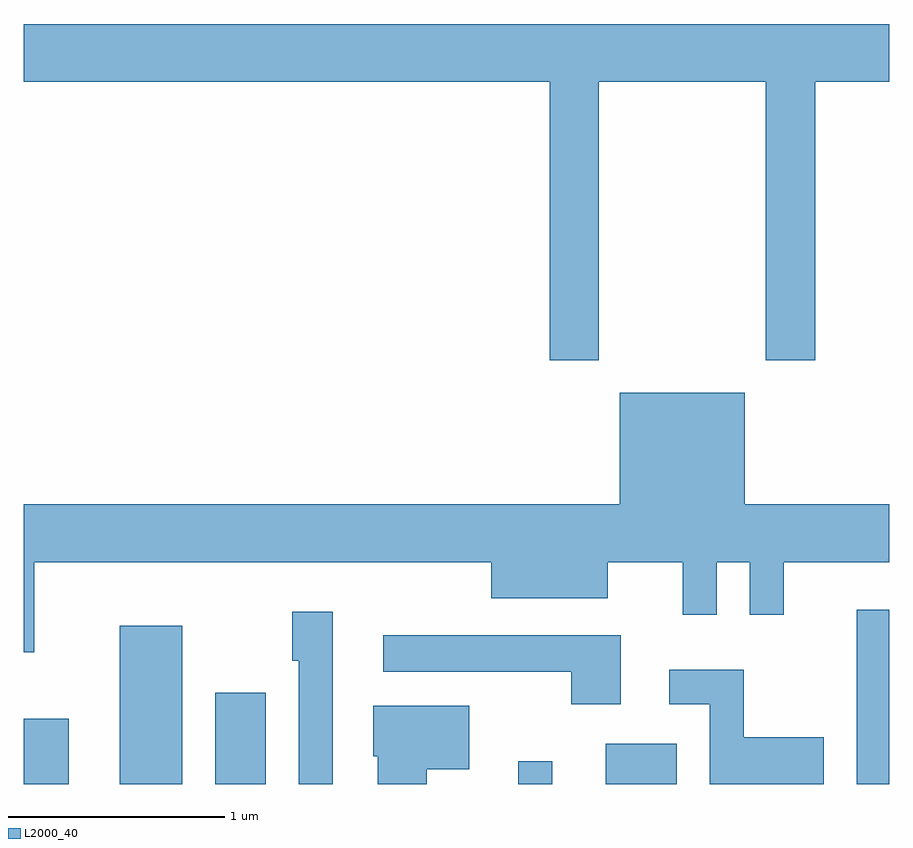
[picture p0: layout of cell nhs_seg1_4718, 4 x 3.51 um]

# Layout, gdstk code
import gdstk
lib = gdstk.Library(unit=1e-6, precision=1e-09)
def R(c, l, rs):  # rectangles x0, y0, x1, y1
    for r in rs: c.add(gdstk.rectangle(r[:2], r[2:], *l))
def P(c, l, *ps):  # polygons
    for p in ps: c.add(gdstk.Polygon(p, *l))
L2000_40 = (2000, 40)

nhs_seg1_4718 = lib.new_cell('nhs_seg1_4718')
R(nhs_seg1_4718, L2000_40, [(327.611,849.712,327.819,850.014), (328.056,849.712,328.344,850.444), (328.496,849.712,328.729,850.134), (329.896,849.712,330.054,849.818), (330.301,849.712,330.629,849.899), (331.461,849.712,331.611,850.518)])
P(nhs_seg1_4718, L2000_40, [(330.269,852.956),(331.041,852.956),(331.041,851.671),(331.269,851.671),(331.269,852.956),(331.611,852.956),(331.611,853.224),(327.611,853.224),(327.611,852.956),(330.041,852.956),(330.041,851.671),(330.269,851.671)],
  [(327.659,850.736),(329.771,850.736),(329.771,850.571),(330.309,850.571),(330.309,850.736),(330.656,850.736),(330.656,850.493),(330.814,850.493),(330.814,850.736),(330.966,850.736),(330.966,850.493),(331.124,850.493),(331.124,850.736),(331.611,850.736),(331.611,851.004),(330.944,851.004),(330.944,851.519),(330.366,851.519),(330.366,851.004),(327.611,851.004),(327.611,850.321),(327.659,850.321)],
  [(329.039,850.509),(328.851,850.509),(328.851,850.281),(328.881,850.281),(328.881,849.712),(329.039,849.712)],
  [(330.369,850.399),(329.273,850.399),(329.273,850.231),(330.141,850.231),(330.141,850.081),(330.369,850.081)],
  [(331.309,849.929),(330.939,849.929),(330.939,850.239),(330.593,850.239),(330.593,850.081),(330.781,850.081),(330.781,849.712),(331.309,849.712)],
  [(329.474,849.781),(329.669,849.781),(329.669,850.074),(329.226,850.074),(329.226,849.841),(329.246,849.841),(329.246,849.712),(329.474,849.712)])

lib.write_gds('nhs_seg1_4718.gds')
